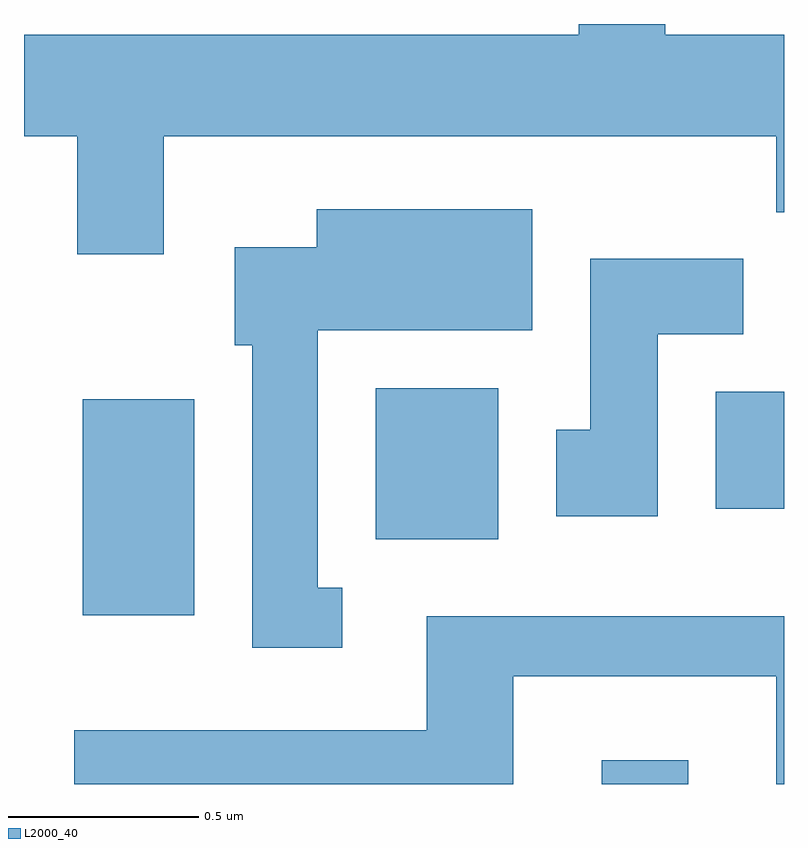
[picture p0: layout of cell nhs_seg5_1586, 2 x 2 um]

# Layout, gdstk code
import gdstk
lib = gdstk.Library(unit=1e-6, precision=1e-09)
def R(c, l, rs):  # rectangles x0, y0, x1, y1
    for r in rs: c.add(gdstk.rectangle(r[:2], r[2:], *l))
def P(c, l, *ps):  # polygons
    for p in ps: c.add(gdstk.Polygon(p, *l))
L2000_40 = (2000, 40)

nhs_seg5_1586 = lib.new_cell('nhs_seg5_1586')
R(nhs_seg5_1586, L2000_40, [(198.131,1475.072,198.359,1475.134), (196.766,1475.516,197.059,1476.084), (197.536,1475.716,197.859,1476.114), (198.431,1475.796,198.611,1476.104)])
P(nhs_seg5_1586, L2000_40, [(196.979,1476.776),(198.591,1476.776),(198.591,1476.576),(198.611,1476.576),(198.611,1477.044),(198.299,1477.044),(198.299,1477.072),(198.071,1477.072),(198.071,1477.044),(196.611,1477.044),(196.611,1476.776),(196.751,1476.776),(196.751,1476.466),(196.979,1476.466)],
  [(197.448,1475.589),(197.384,1475.589),(197.384,1476.266),(197.949,1476.266),(197.949,1476.584),(197.381,1476.584),(197.381,1476.484),(197.166,1476.484),(197.166,1476.226),(197.211,1476.226),(197.211,1475.431),(197.448,1475.431)],
  [(198.279,1476.256),(198.504,1476.256),(198.504,1476.454),(198.101,1476.454),(198.101,1476.004),(198.011,1476.004),(198.011,1475.776),(198.279,1475.776)],
  [(197.899,1475.356),(198.591,1475.356),(198.591,1475.072),(198.611,1475.072),(198.611,1475.514),(197.671,1475.514),(197.671,1475.214),(196.743,1475.214),(196.743,1475.072),(197.899,1475.072)])

lib.write_gds('nhs_seg5_1586.gds')
